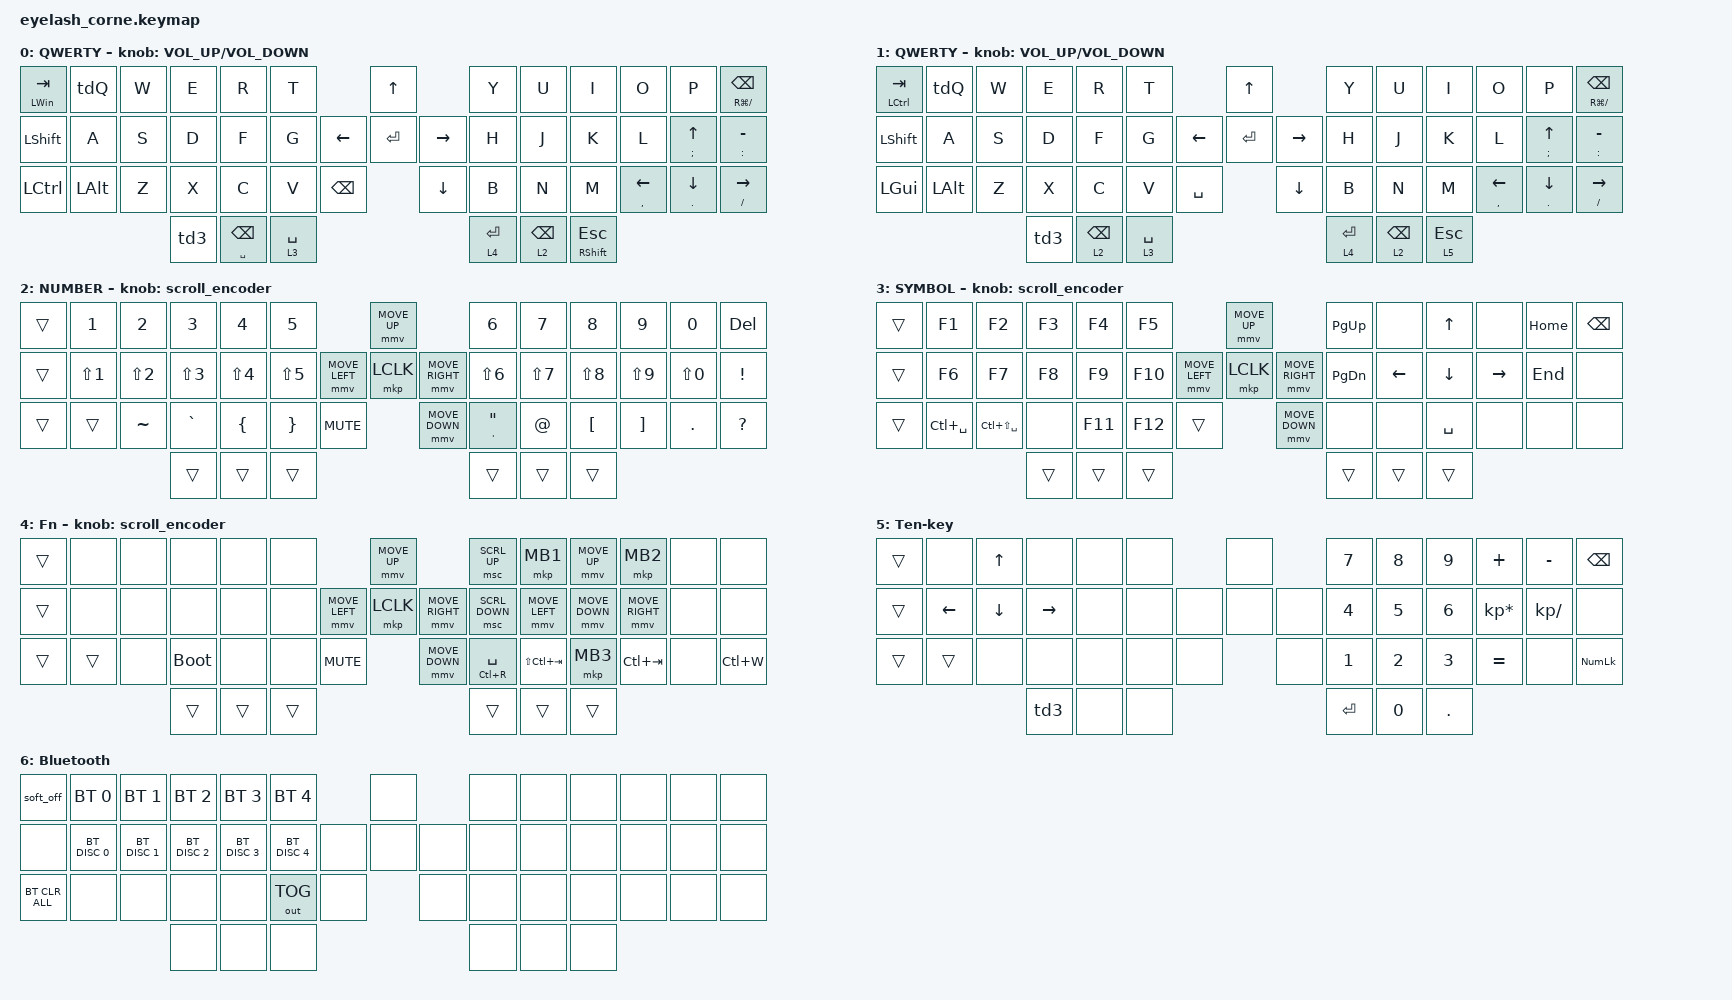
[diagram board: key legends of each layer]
#define ZMK_POINTING_DEFAULT_MOVE_VAL 1400  // 600
#define ZMK_POINTING_DEFAULT_SCRL_VAL 30   // 10

#include <input/processors.dtsi>
#include <zephyr/dt-bindings/input/input-event-codes.h>
#include <behaviors.dtsi>
#include <dt-bindings/zmk/bt.h>
#include <dt-bindings/zmk/keys.h>
#include <dt-bindings/zmk/outputs.h>
#include <dt-bindings/zmk/pointing.h>
#include <dt-bindings/zmk/rgb.h>

&mmv_input_listener { input-processors = <&zip_xy_scaler 2 1>; };

&msc_input_listener { input-processors = <&zip_scroll_scaler 1 1>; };

&msc {
    acceleration-exponent = <0>;      // 0
    time-to-max-speed-ms = <0>;       // 300
    delay-ms = <0>;                   // 0
    trigger-period-ms = <16>;
};

&mmv {
    time-to-max-speed-ms = <400>;
    acceleration-exponent = <1>;
    trigger-period-ms = <16>;
};

/ {
    behaviors {
        td3: td3 {
            compatible = "zmk,behavior-tap-dance";
            display-name = "Shift/Caps Lock Tap Dance";
            #binding-cells = <0>;
            bindings = <&thl2 5 ESCAPE>, <&thl2 6 ESCAPE>, <&tog 5>;

            label = "tap dance";
            tapping-term-ms = <200>;
        };

        th: th {
            compatible = "zmk,behavior-hold-tap";
            label = "Tap and hold";
            bindings = <&kp>, <&kp>;

            #binding-cells = <2>;
            tapping-term-ms = <150>;
        };

        thl: thl {
            compatible = "zmk,behavior-hold-tap";
            label = "tap hold layer";
            bindings = <&mo>, <&kp>;

            #binding-cells = <2>;
            tapping-term-ms = <120>;
            quick-tap-ms = <160>;
            hold-trigger-key-positions = <33 32 18 17 16 15 14 1 2 3 5 4 30 23 24 9 25 31>;
        };

        tdQ: tdQ {
            compatible = "zmk,behavior-tap-dance";
            label = "TDQ";
            #binding-cells = <0>;
            bindings = <&kp Q>, <&th PIPE BACKSLASH>;

            tapping-term-ms = <180>;
        };

        thl2: thl2 {
            compatible = "zmk,behavior-hold-tap";
            label = "Tap Hold Layer 2";
            bindings = <&mo>, <&kp>;

            #binding-cells = <2>;
            tapping-term-ms = <140>;
            quick-tap-ms = <170>;
            flavor = "balanced";
        };

        thc: thc {
            compatible = "zmk,behavior-hold-tap";
            label = "Tap Hold Curcor";
            bindings = <&kp>, <&kp>;

            #binding-cells = <2>;
            tapping-term-ms = <180>;
            quick-tap-ms = <180>;
            flavor = "tap-preferred";
        };

        td2: td2 {
            compatible = "zmk,behavior-tap-dance";
            label = "TD2";
            #binding-cells = <0>;
            bindings = <&th LSHFT ESC>, <&kp LCTRL>;

            tapping-term-ms = <200>;
        };
    };

    rgb_encoder: rgb_encoder {
        compatible = "zmk,behavior-sensor-rotate";
        #sensor-binding-cells = <0>;
        bindings = <&rgb_ug RGB_BRI>, <&rgb_ug RGB_BRD>;
    };

    scroll_encoder: scroll_encoder {
        compatible = "zmk,behavior-sensor-rotate";
        #sensor-binding-cells = <0>;
        bindings = <&msc SCRL_DOWN>, <&msc SCRL_UP>;

        tap-ms = <100>;
    };

    combos { compatible = "zmk,combos"; };

    keymap {
        compatible = "zmk,keymap";

        Main {
            display-name = "QWERTY";
            bindings = <
&th LEFT_WIN TAB  &tdQ          &kp W  &kp E  &kp R                &kp T                                    &kp UP                &kp Y          &kp U              &kp I              &kp O            &kp P                    &thc RG(SLASH) BACKSPACE
&kp LEFT_SHIFT    &kp A         &kp S  &kp D  &kp F                &kp G                          &kp LEFT  &kp ENTER  &kp RIGHT  &kp H          &kp J              &kp K              &kp L            &thc SEMICOLON UP_ARROW  &th COLON MINUS
&kp LCTRL         &kp LEFT_ALT  &kp Z  &kp X  &kp C                &kp V         &kp BACKSPACE              &kp DOWN              &kp B          &kp N              &kp M              &thc COMMA LEFT  &thc PERIOD DOWN         &thc SLASH RIGHT
                                       &td3   &th SPACE BACKSPACE  &thl 3 SPACE                                                   &thl2 4 ENTER  &thl2 2 BACKSPACE  &th RSHIFT ESCAPE
            >;

            sensor-bindings = <&inc_dec_kp C_VOLUME_UP C_VOLUME_DOWN>;
        };

        iOS {
            display-name = "QWERTY";
            bindings = <
&th LCTRL TAB   &tdQ          &kp W  &kp E  &kp R              &kp T                                &kp UP                &kp Y          &kp U              &kp I           &kp O            &kp P                    &thc RG(SLASH) BACKSPACE
&kp LEFT_SHIFT  &kp A         &kp S  &kp D  &kp F              &kp G                      &kp LEFT  &kp ENTER  &kp RIGHT  &kp H          &kp J              &kp K           &kp L            &thc SEMICOLON UP_ARROW  &th COLON MINUS
&kp LEFT_GUI    &kp LEFT_ALT  &kp Z  &kp X  &kp C              &kp V         &kp SPACE              &kp DOWN              &kp B          &kp N              &kp M           &thc COMMA LEFT  &thc PERIOD DOWN         &thc SLASH RIGHT
                                     &td3   &thl2 2 BACKSPACE  &thl 3 SPACE                                               &thl2 4 ENTER  &thl2 2 BACKSPACE  &thl2 5 ESCAPE
            >;

            sensor-bindings = <&inc_dec_kp C_VOLUME_UP C_VOLUME_DOWN>;
        };

        Number {
            display-name = "NUMBER";
            bindings = <
&trans  &kp N1            &kp N2            &kp N3      &kp N4          &kp N5                                         &mmv MOVE_UP                     &kp N6                          &kp N7            &kp N8            &kp N9             &kp N0      &kp DEL
&trans  &kp LS(NUMBER_1)  &kp LS(NUMBER_2)  &kp LS(N3)  &kp LS(N4)      &kp LS(N5)                     &mmv MOVE_LEFT  &mkp LCLK       &mmv MOVE_RIGHT  &kp LS(NUMBER_6)                &kp LS(NUMBER_7)  &kp LS(N8)        &kp LS(N9)         &kp LS(N0)  &kp EXCLAMATION
&trans  &trans            &kp TILDE         &kp GRAVE   &kp LEFT_BRACE  &kp RIGHT_BRACE  &kp C_MUTE                    &mmv MOVE_DOWN                   &th SINGLE_QUOTE DOUBLE_QUOTES  &kp AT            &kp LEFT_BRACKET  &kp RIGHT_BRACKET  &kp PERIOD  &kp QUESTION
                                            &trans      &trans          &trans                                                                          &trans                          &trans            &trans
            >;

            sensor-bindings = <&scroll_encoder>;
        };

        Function {
            display-name = "SYMBOL";
            bindings = <
&trans  &kp F1         &kp F2             &kp F3  &kp F4   &kp F5                             &mmv MOVE_UP                     &kp PAGE_UP    &none           &kp UP_ARROW  &none      &kp HOME  &kp BSPC
&trans  &kp F6         &kp F7             &kp F8  &kp F9   &kp F10            &mmv MOVE_LEFT  &mkp LCLK       &mmv MOVE_RIGHT  &kp PAGE_DOWN  &kp LEFT_ARROW  &kp DOWN      &kp RIGHT  &kp END   &none
&trans  &kp LC(SPACE)  &kp LC(LS(SPACE))  &none   &kp F11  &kp F12  &trans                    &mmv MOVE_DOWN                   &none          &none           &kp SPACE     &none      &none     &none
                                          &trans  &trans   &trans                                                              &trans         &trans          &trans
            >;

            sensor-bindings = <&scroll_encoder>;
        };

        Mouse {
            display-name = "Fn";
            bindings = <
&trans  &none   &none  &none        &none   &none                                 &mmv MOVE_UP                     &msc SCRL_UP     &mkp MB1         &mmv MOVE_UP    &mkp MB2         &none  &none
&trans  &none   &none  &none        &none   &none                 &mmv MOVE_LEFT  &mkp LCLK       &mmv MOVE_RIGHT  &msc SCRL_DOWN   &mmv MOVE_LEFT   &mmv MOVE_DOWN  &mmv MOVE_RIGHT  &none  &none
&trans  &trans  &none  &bootloader  &none   &none   &kp C_MUTE                    &mmv MOVE_DOWN                   &th LC(R) SPACE  &kp LS(LC(TAB))  &mkp MB3        &kp LC(TAB)      &none  &kp LC(W)
                       &trans       &trans  &trans                                                                 &trans           &trans           &trans
            >;

            sensor-bindings = <&scroll_encoder>;
        };

        Ten-key {
            bindings = <
&trans  &none     &kp UP    &none      &none  &none                  &none         &kp N7     &kp N8  &kp N9   &kp PLUS         &kp MINUS      &kp BACKSPACE
&trans  &kp LEFT  &kp DOWN  &kp RIGHT  &none  &none           &none  &none  &none  &kp N4     &kp N5  &kp N6   &kp KP_MULTIPLY  &kp KP_DIVIDE  &none
&trans  &trans    &none     &none      &none  &none  &none           &none         &kp N1     &kp N2  &kp N3   &kp EQUAL        &none          &kp KP_NUMLOCK
                            &td3       &none  &none                                &kp ENTER  &kp N0  &kp DOT
            >;
        };

        Bluetooth {
            bindings = <
&soft_off       &bt BT_SEL 0   &bt BT_SEL 1   &bt BT_SEL 2   &bt BT_SEL 3   &bt BT_SEL 4                   &none         &none  &none  &none  &none  &none  &none
&none           &bt BT_DISC 0  &bt BT_DISC 1  &bt BT_DISC 2  &bt BT_DISC 3  &bt BT_DISC 4           &none  &none  &none  &none  &none  &none  &none  &none  &none
&bt BT_CLR_ALL  &none          &none          &none          &none          &out OUT_TOG   &none           &none         &none  &none  &none  &none  &none  &none
                                              &none          &none          &none                                        &none  &none  &none
            >;
        };
    };
};
